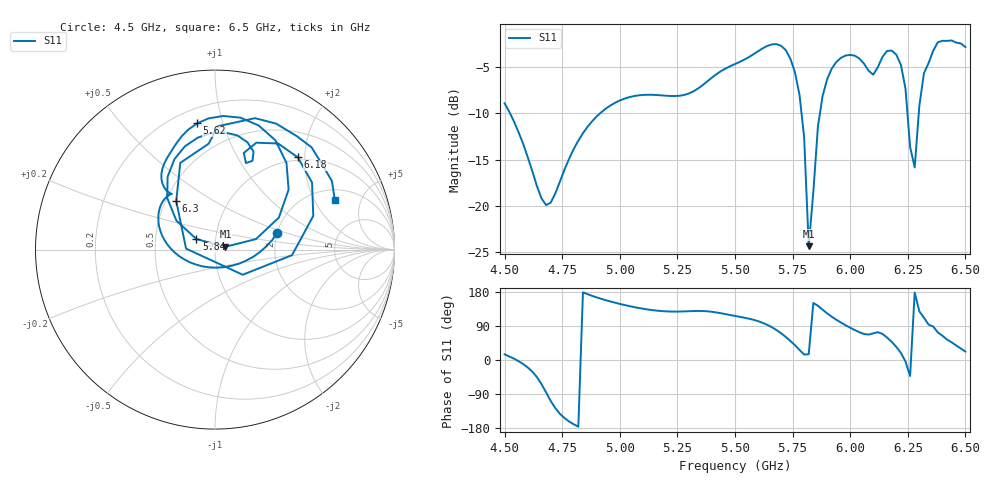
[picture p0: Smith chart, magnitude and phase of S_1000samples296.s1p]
! TOUCHSTONE file generated by CST MICROWAVE STUDIO
! Date and time: Thu Oct 27 16:25:34 2022
! Project name: L.cst
! Parameters = {Di=1.27; Epsilon_r=1.56; InnerDiameter=1.27; Length=2; Lf=10; Lg=60; OuterConductorThickness=0.2921; OuterDiameter=3.6; Wf=3; Wp=41.2; de=1.5; df=6.8; g=0.8; gx=2.71808; gy=0.601493; h=2.34; hf=1.524; px=14.5637; py=12.3252; w=9.7; wx=11.8456; wy=11.7237}
! Header version: 2018
! Port assignment regex: !\s*Touchstone port\s*([0-9]+)\s*=\s*(CST MWS port|CST DS port)\s*([0-9]+|Zmin|Zmax)\s*\(\"(.*)\"\)(\s*mode\s*([0-9]+))?.*
! Touchstone port assignment:
! Touchstone port 1 = CST MWS port 1 ("")
# GHz S DB R 50
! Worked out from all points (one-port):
!   101 points, 4.5 GHz to 6.5 GHz, reference 50 ohm
!   lowest |S11| = -24.4 dB at 5.82 GHz (marker M1), VSWR 1.13, Z = 56.2 + j1.79 ohm
!   |S11| at or under -10 dB: 4.524 GHz to 4.914 GHz (390.8 MHz wide, 8.28 % of centre); 5.789 GHz to 5.869 GHz (79.85 MHz wide, 1.37 % of centre); 6.248 GHz to 6.298 GHz (49.13 MHz wide, 0.783 % of centre)
!   S11 on the Smith chart (normalised r, x): 4.5 GHz: 2.00, +0.43; 5.62 GHz: 0.29, +0.83; 5.84 GHz: 0.81, +0.10; 6.18 GHz: 0.94, +1.85; 6.3 GHz: 0.57, +0.35; 6.5 GHz: 2.59, +2.96
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4.5  -8.92 15.0
4.68  -19.91 -85.3
4.76  -16.07 -153.2
5  -8.61 148.1
5.26  -8.10 127.9
5.5  -4.67 116.3
5.62  -2.97 98.1
5.7  -2.70 70.6
5.76  -5.53 39.1
5.8  -12.55 14.4
5.82  -24.36 15.2
5.84  -18.51 150.5
5.86  -11.41 143.1
5.88  -8.15 132.8
5.94  -4.44 106.2
6  -3.68 85.2
6.06  -4.63 68.5
6.12  -5.01 73.4
6.18  -3.21 48.1
6.22  -4.75 18.9
6.24  -7.33 -4.1
6.26  -13.62 -42.2
6.28  -15.84 178.1
6.3  -9.21 128.6
6.32  -5.67 111.8
6.38  -2.32 73.1
6.44  -2.12 46.6
6.5  -2.83 22.3
